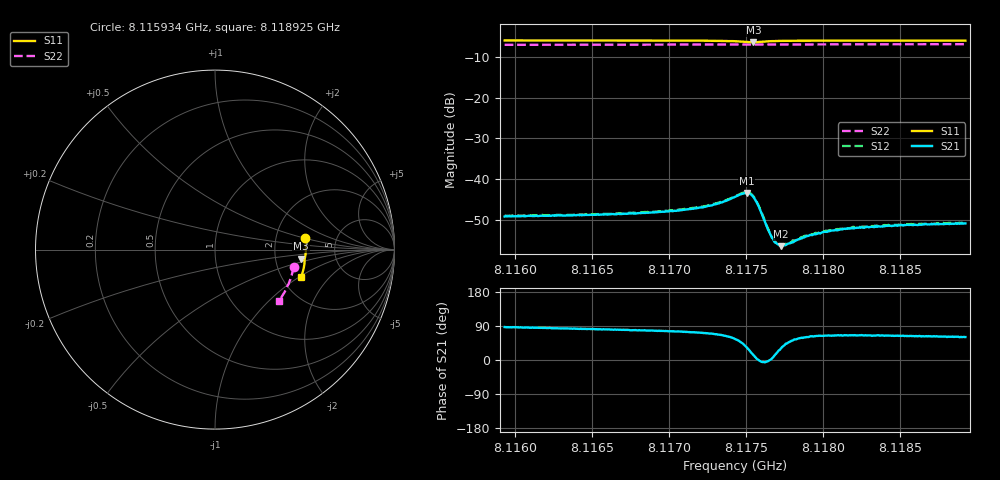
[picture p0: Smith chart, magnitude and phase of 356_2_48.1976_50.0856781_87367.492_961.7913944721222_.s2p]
#  HZ  S  RI  R  50.00
! Rohde & Schwarz Vector Network Analyzer
! Rohde-Schwarz,ZNB20-2Port,1311601062101988,3.16
! Created: UTC 3/20/2024, 11:52:00 AM
! freq[Hz]  re:S11  im:S11  re:S21  im:S21  re:S12  im:S12  re:S22  im:S22
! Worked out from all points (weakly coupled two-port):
!   401 points, 8.115934 GHz to 8.118925 GHz, reference 50 ohm
!   highest |S21| = -43.42 dB at 8.117504 GHz (marker M1); lowest = -56.5 dB at 8.117728 GHz (marker M2)
!   lowest |S11| = -6.3 dB at 8.117549 GHz (marker M3), VSWR 2.86, Z = 140 - j18.3 ohm
!   |S11| at or under -10 dB: nowhere
!   |S22| runs from -7.0 to -6.8 dB; largest |S21 - S12| = 0.0002
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8.1159336e9  0.5034 0.0631  0.000178 0.00346  0.000282 0.00354  0.4379 -0.0967
8.1164346e9  0.5061 0.0254  0.000517 0.00355  0.000537 0.00364  0.4305 -0.1305
8.1169356e9  0.5058 -0.0129  0.000877 0.00385  0.00096 0.00389  0.4203 -0.1639
8.1172272e9  0.5029 -0.0371  0.00148 0.00429  0.00154 0.00436  0.4131 -0.1831
8.1173543e9  0.4991 -0.0491  0.00227 0.00478  0.00233 0.00481  0.4096 -0.1913
8.1174291e9  0.4935 -0.0564  0.00342 0.00498  0.00352 0.00504  0.4074 -0.1962
8.1174739e9  0.4873 -0.059  0.00465 0.00465  0.00479 0.00473  0.4057 -0.199
8.1175039e9  0.4823 -0.0579  0.00559 0.00377  0.00573 0.00379  0.4047 -0.2008
8.1175263e9  0.4794 -0.0547  0.00601 0.00265  0.00619 0.00262  0.404 -0.2018
8.1175487e9  0.479 -0.0501  0.00587 0.00133  0.00597 0.00134  0.4035 -0.2029
8.1175786e9  0.4828 -0.0457  0.0048 5.92e-05  0.0049 2.95e-06  0.403 -0.2047
8.1176534e9  0.4942 -0.0491  0.0022 -1.16e-05  0.00222 -3.61e-05  0.4013 -0.2095
8.1176758e9  0.4958 -0.0516  0.00183 0.000234  0.00185 0.000221  0.4005 -0.2109
8.1177057e9  0.4975 -0.055  0.00148 0.000572  0.00148 0.00058  0.3998 -0.213
8.1177282e9  0.4981 -0.0577  0.00128 0.000777  0.00133 0.000787  0.3991 -0.2143
8.1177805e9  0.4989 -0.0632  0.0011 0.00119  0.00114 0.00118  0.3976 -0.2177
8.1178702e9  0.4987 -0.0717  0.00101 0.00162  0.00102 0.00165  0.3948 -0.2233
8.1179301e9  0.4984 -0.077  0.000941 0.00182  0.00098 0.00185  0.3929 -0.2272
8.1180497e9  0.4971 -0.0868  0.001 0.00208  0.00102 0.00213  0.3888 -0.2346
8.1181993e9  0.4951 -0.0985  0.00104 0.00224  0.00111 0.00233  0.3836 -0.2436
8.118431e9  0.4912 -0.116  0.00116 0.00241  0.00117 0.00242  0.3753 -0.2578
8.1189246e9  0.481 -0.1518  0.0014 0.00248  0.00143 0.00252  0.3558 -0.2863
